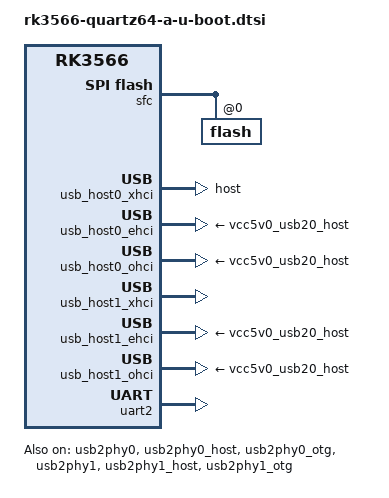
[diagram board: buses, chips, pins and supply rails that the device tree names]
// SPDX-License-Identifier: GPL-2.0+
/*
 * (C) Copyright 2021 Rockchip Electronics Co., Ltd
 */

#include "rk356x-u-boot.dtsi"

/ {
	chosen {
		stdout-path = &uart2;
		u-boot,spl-boot-order = "same-as-spl", &sdhci, &sdmmc0;
	};
};

&gmac1 {
	assigned-clocks = <&cru SCLK_GMAC1_RX_TX>, <&cru SCLK_GMAC1>;
	assigned-clock-parents = <&cru SCLK_GMAC1_RGMII_SPEED>, <&gmac1_clkin>;
	status = "disabled";
};

&rk817 {
	/delete-property/ assigned-clocks;
	/delete-property/ assigned-clock-parents;
	/delete-property/ clocks;
	/delete-property/ clock-names;
};

&saradc {
	vdd-supply = <&vcc_1v8>;
};

&sfc {
	flash@0 {
		u-boot,dm-spl;
	};
};

&usb_host0_xhci {
	dr_mode = "host";
	status = "okay";
};

&usb_host0_ehci {
	vbus-supply = <&vcc5v0_usb20_host>;
};

&usb_host0_ohci {
	vbus-supply = <&vcc5v0_usb20_host>;
};

&usb_host1_xhci {
	status = "okay";
};

&usb_host1_ehci {
	vbus-supply = <&vcc5v0_usb20_host>;
};

&usb_host1_ohci {
	vbus-supply = <&vcc5v0_usb20_host>;
};

&usb2phy0 {
	status = "okay";
};

&usb2phy0_host {
	phy-supply = <&vcc5v0_usb20_host>;
	status = "okay";
};

&usb2phy0_otg {
	phy-supply = <&vcc5v0_usb20_otg>;
	status = "okay";
};

&usb2phy1 {
	status = "okay";
};

&usb2phy1_host {
	phy-supply = <&vcc5v0_usb20_host>;
	status = "okay";
};

&usb2phy1_otg {
	phy-supply = <&vcc5v0_usb20_host>;
	status = "okay";
};

&uart2 {
	clock-frequency = <24000000>;
	u-boot,dm-spl;
	status = "okay";
};
